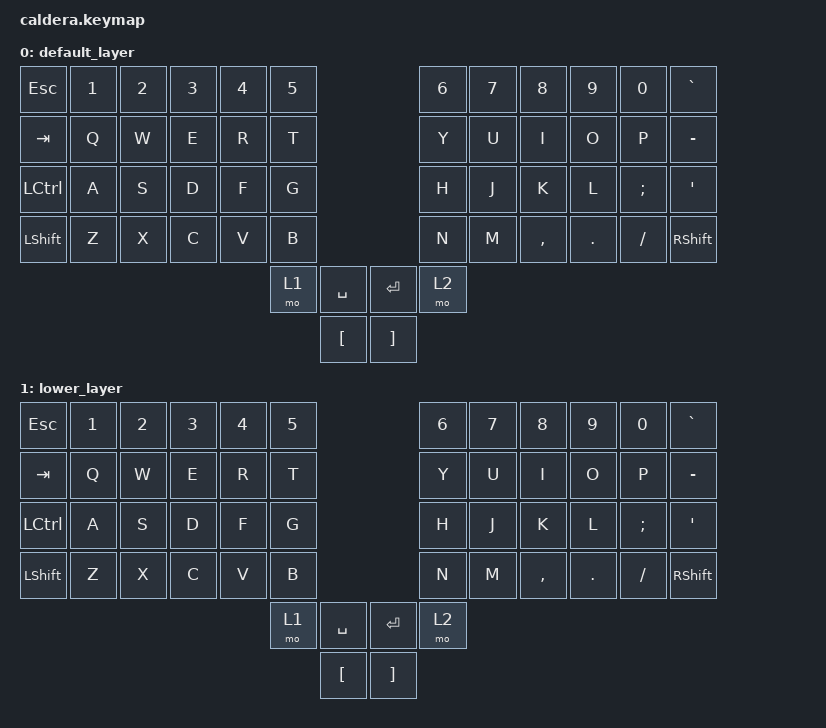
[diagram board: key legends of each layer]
#include <behaviors.dtsi>
#include <dt-bindings/zmk/keys.h>
#include <dt-bindings/zmk/bt.h>

/ {
        keymap {
                compatible = "zmk,keymap";

                default_layer {
// --------------------------------------------------------------------------------------------------------------------------
// |  ESC  |  1  |  2  |  3   |  4   |  5   |                                 |  6   |  7    |  8    |  9   |   0   |   `   |
// |  TAB  |  Q  |  W  |  E   |  R   |  T   |                                 |  Y   |  U    |  I    |  O   |   P   |   -   |
// |  CTRL |  A  |  S  |  D   |  F   |  G   |                                 |  H   |  J    |  K    |  L   |   ;   |   '   |
// | SHIFT |  Z  |  X  |  C   |  V   |  B   |                                 |  N   |  M    |  ,    |  .   |   /   | SHIFT |
//                                          | LOWER|  SPACE |  | ENTER | RAISE|
//                                                 |   "["  |  |  "]"  |
                        bindings = <
&kp ESC   &kp N1 &kp N2 &kp N3   &kp N4   &kp N5                     &kp N6 &kp N7   &kp N8    &kp N9  &kp N0   &kp GRAVE
&kp TAB   &kp Q  &kp W  &kp E    &kp R    &kp T                      &kp Y  &kp U    &kp I     &kp O   &kp P    &kp MINUS
&kp LCTRL &kp A  &kp S  &kp D    &kp F    &kp G                      &kp H  &kp J    &kp K     &kp L   &kp SEMI &kp SQT
&kp LSHFT &kp Z  &kp X  &kp C    &kp V    &kp B                      &kp N  &kp M    &kp COMMA &kp DOT &kp FSLH &kp RSHFT
                                          &mo 1  &kp SPACE  &kp RET  &mo 2  
                                                 &kp LBKT   &kp RBKT
                        >;
                };
                lower_layer {
// --------------------------------------------------------------------------------------------------------------------------
// |  ESC  |  1  |  2  |  3   |  4   |  5   |                                 |  6   |  7    |  8    |  9   |   0   |   `   |
// |  TAB  |  Q  |  W  |  E   |  R   |  T   |                                 |  Y   |  U    |  I    |  O   |   P   |   -   |
// |  CTRL |  A  |  S  |  D   |  F   |  G   |                                 |  H   |  J    |  K    |  L   |   ;   |   '   |
// | SHIFT |  Z  |  X  |  C   |  V   |  B   |                                 |  N   |  M    |  ,    |  .   |   /   | SHIFT |
//                                          | LOWER|  SPACE |  | ENTER | RAISE|
//                                                 |   "["  |  |  "]"  |
                        bindings = <
&kp ESC   &kp N1 &kp N2 &kp N3   &kp N4   &kp N5                     &kp N6 &kp N7   &kp N8    &kp N9  &kp N0   &kp GRAVE
&kp TAB   &kp Q  &kp W  &kp E    &kp R    &kp T                      &kp Y  &kp U    &kp I     &kp O   &kp P    &kp MINUS
&kp LCTRL &kp A  &kp S  &kp D    &kp F    &kp G                      &kp H  &kp J    &kp K     &kp L   &kp SEMI &kp SQT
&kp LSHFT &kp Z  &kp X  &kp C    &kp V    &kp B                      &kp N  &kp M    &kp COMMA &kp DOT &kp FSLH &kp RSHFT
                                          &mo 1  &kp SPACE  &kp RET  &mo 2  
                                                 &kp LBKT   &kp RBKT
                        >;
                };
        };
};
